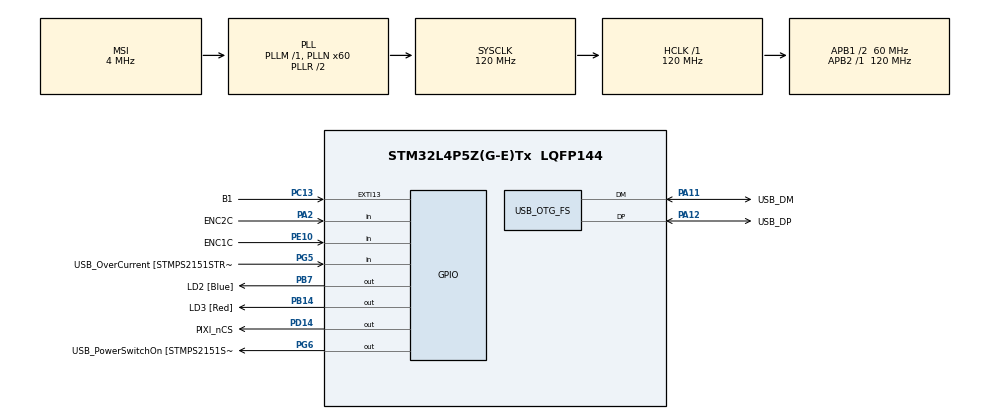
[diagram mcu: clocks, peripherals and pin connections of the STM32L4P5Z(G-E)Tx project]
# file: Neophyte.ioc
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FREERTOS.INCLUDE_vTaskDelayUntil=1
FREERTOS.Tasks01=defaultTask,0,1024,StartDefaultTask,Default,NULL,Dynamic,NULL,NULL
FREERTOS.configCHECK_FOR_STACK_OVERFLOW=2
FREERTOS.configTOTAL_HEAP_SIZE=15360
FREERTOS.configUSE_MALLOC_FAILED_HOOK=1
FREERTOS.configUSE_MUTEXES=0
FREERTOS.configUSE_PREEMPTION=0
IWDG.Prescaler=IWDG_PRESCALER_128
IWDG.Reload=8*32000/128
IWDG.Window=8*32000/128
Mcu.Family=STM32L4
Mcu.Name=STM32L4P5Z(G-E)Tx
Mcu.Package=LQFP144
NVIC.OTG_FS_IRQn=true\:10\:0\:true\:false\:true\:false\:false\:true
NVIC.PriorityGroup=NVIC_PRIORITYGROUP_4
PA10.GPIO_Label=USB_ID
PA10.Signal=USB_OTG_FS_ID
PA11.GPIO_Label=USB_DM
PA11.Mode=Device_Only
PA11.Signal=USB_OTG_FS_DM
PA12.GPIO_Label=USB_DP
PA12.Mode=Device_Only
PA12.Signal=USB_OTG_FS_DP
PA13\ (JTMS/SWDIO).GPIO_Label=TMS
PA13\ (JTMS/SWDIO).Mode=Trace_Asynchronous_SW
PA13\ (JTMS/SWDIO).Signal=SYS_JTMS-SWDIO
PA14\ (JTCK/SWCLK).GPIO_Label=TCK
PA14\ (JTCK/SWCLK).Mode=Trace_Asynchronous_SW
PA14\ (JTCK/SWCLK).Signal=SYS_JTCK-SWCLK
PA2.GPIO_Label=ENC2C
PA2.GPIO_PuPd=GPIO_PULLUP
PA2.Signal=GPIO_Input
PA5.GPIO_Label=PIXI_SCK
PA5.Signal=SPI1_SCK
PA6.GPIO_Label=PIXI_MISO
PA6.Signal=SPI1_MISO
PA8.GPIO_Label=USB_SOF [TP1]
PA8.Signal=USB_OTG_FS_SOF
PA9.GPIO_Label=USB_VBUS
PA9.Signal=USB_OTG_FS_VBUS
PB14.GPIO_Label=LD3 [Red]
PB14.Signal=GPIO_Output
PB3\ (JTDO/TRACESWO).GPIO_Label=SWO
PB3\ (JTDO/TRACESWO).Mode=Trace_Asynchronous_SW
PB3\ (JTDO/TRACESWO).Signal=SYS_JTDO-SWO
PB7.GPIO_Label=LD2 [Blue]
PB7.Signal=GPIO_Output
PC13.GPIO_Label=B1
PC13.Signal=GPXTI13
PC14-OSC32_IN\ (PC14).Mode=LSE-External-Oscillator
PC14-OSC32_IN\ (PC14).Signal=RCC_OSC32_IN
PC15-OSC32_OUT\ (PC15).Mode=LSE-External-Oscillator
PC15-OSC32_OUT\ (PC15).Signal=RCC_OSC32_OUT
PD14.GPIO_Label=PIXI_nCS
PD14.GPIO_Speed=GPIO_SPEED_FREQ_VERY_HIGH
PD14.Signal=GPIO_Output
PE10.GPIO_Label=ENC1C
PE10.GPIO_PuPd=GPIO_PULLUP
PE10.Signal=GPIO_Input
PG5.GPIO_Label=USB_OverCurrent [STMPS2151STR_FAULT]
PG5.Signal=GPIO_Input
PG6.GPIO_Label=USB_PowerSwitchOn [STMPS2151STR_En]
PG6.Signal=GPIO_Output
PG7.GPIO_Label=STLINK_TX
PG7.Signal=LPUART1_TX
PG8.GPIO_Label=STLINK_RX
PG8.Signal=LPUART1_RX
PH0-OSC_IN\ (PH0).Mode=HSE-External-Clock-Source
PH0-OSC_IN\ (PH0).Signal=RCC_OSC_IN
PH1-OSC_OUT\ (PH1).Signal=RCC_OSC_OUT
ProjectManager.HeapSize=0x200
ProjectManager.StackSize=0x400
ProjectManager.TargetToolchain=Makefile
RCC.48MHZClocksFreq_Value=24000000
RCC.ADCFreq_Value=48000000
RCC.AHBFreq_Value=120000000
RCC.APB1CLKDivider=RCC_HCLK_DIV2
RCC.APB1Freq_Value=60000000
RCC.APB1TimFreq_Value=120000000
RCC.APB2Freq_Value=120000000
RCC.APB2TimFreq_Value=120000000
RCC.CortexFreq_Value=120000000
RCC.HCLKFreq_Value=120000000
RCC.HSE_VALUE=8000000
RCC.HSI48_VALUE=48000000
RCC.HSI_VALUE=16000000
RCC.MSI_VALUE=4000000
RCC.PLLMUL=RCC_PLL_MUL9
RCC.PLLN=60
RCC.PLLSAI1N=24
RCC.PRESCALERUSB=RCC_USBCLKSOURCE_PLL_DIV1_5
RCC.SYSCLKFreq_VALUE=120000000
RCC.SYSCLKSource=RCC_SYSCLKSOURCE_PLLCLK
RCC.SYSCLKSourceVirtual=RCC_SYSCLKSOURCE_PLLCLK
RCC.USBFreq_Value=48000000
RCC.VCOOutputFreq_Value=240000000
USB_DEVICE.CLASS_NAME_FS=AUDIO
USB_DEVICE.MANUFACTURER_STRING=Rebel Technology
USB_DEVICE.PID_AUDIO_FS=0xDADA
USB_DEVICE.PRODUCT_STRING_AUDIO_FS=OWL-NEOPHYTE
USB_DEVICE.VID=0x1209
USB_DEVICE.VirtualMode=Audio
USB_DEVICE.VirtualModeFS=Audio_FS
USB_OTG_FS.VirtualMode=Device_Only
USB_OTG_FS.battery_charging_enable=DISABLE
VP_FREERTOS_VS_CMSIS_V1.Mode=CMSIS_V1
VP_IWDG_VS_IWDG.Mode=IWDG_Activate
VP_USB_DEVICE_VS_USB_DEVICE_AUDIO_FS.Mode=AUDIO_FS
board=NUCLEO-L4P5ZG

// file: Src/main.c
/* USER CODE BEGIN Header */
/**
  ******************************************************************************
  * @file           : main.c
  * @brief          : Main program body
  ******************************************************************************
  * @attention
  *
  * <h2><center>&copy; Copyright (c) 2020 STMicroelectronics.
  * All rights reserved.</center></h2>
  *
  * This software component is licensed by ST under BSD 3-Clause license,
  * the "License"; You may not use this file except in compliance with the
  * License. You may obtain a copy of the License at:
  *                        opensource.org/licenses/BSD-3-Clause
  *
  ******************************************************************************
  */
/* USER CODE END Header */
#include "main.h"
#include "cmsis_os.h"
#include "usb_device.h"

/* USER CODE BEGIN Includes */
#include "device.h"
#include "errorhandlers.h"
/* USER CODE END Includes */

IWDG_HandleTypeDef hiwdg;

osThreadId defaultTaskHandle;

void SystemClock_Config(void);
static void MX_GPIO_Init(void);
static void MX_IWDG_Init(void);
void StartDefaultTask(void const * argument);

/* USER CODE BEGIN PFP */
void setup(void);
void loop(void);
void initialise_monitor_handles(void);
/* USER CODE END PFP */

int main(void)
{
  /* USER CODE BEGIN 1 */
#ifdef DEBUG
#warning "DEBUG uses printf and semihosting!"
  if(CoreDebug->DHCSR & 0x01)
    initialise_monitor_handles(); // remove when not semi-hosting
  printf("showtime\n");
#endif
  /* USER CODE END 1 */

  /* MCU Configuration--------------------------------------------------------*/

  /* Reset of all peripherals, Initializes the Flash interface and the Systick. */
  HAL_Init();

  /* Configure the system clock */
  SystemClock_Config();

  /* Initialize all configured peripherals */
  MX_GPIO_Init();
  MX_IWDG_Init();
  /* USER CODE BEGIN 2 */
    __enable_irq(); // Normally we enable them from SDRAM init function
  /* USER CODE END 2 */

  /* Create the thread(s) */
  /* definition and creation of defaultTask */
  osThreadDef(defaultTask, StartDefaultTask, osPriorityNormal, 0, 1024);
  defaultTaskHandle = osThreadCreate(osThread(defaultTask), NULL);

  /* Start scheduler */
  osKernelStart();

  /* We should never get here as control is now taken by the scheduler */
  /* Infinite loop */
  while (1)
  {

  }
}

void SystemClock_Config(void)
{
  RCC_OscInitTypeDef RCC_OscInitStruct = {0};
  RCC_ClkInitTypeDef RCC_ClkInitStruct = {0};
  RCC_PeriphCLKInitTypeDef PeriphClkInit = {0};

  /** Configure the main internal regulator output voltage
  */
  if (HAL_PWREx_ControlVoltageScaling(PWR_REGULATOR_VOLTAGE_SCALE1_BOOST) != HAL_OK)
  {
    Error_Handler();
  }
  /** Configure LSE Drive Capability
  */
  HAL_PWR_EnableBkUpAccess();
  __HAL_RCC_LSEDRIVE_CONFIG(RCC_LSEDRIVE_LOW);
  /** Initializes the RCC Oscillators according to the specified parameters
  * in the RCC_OscInitTypeDef structure.
  */
  RCC_OscInitStruct.OscillatorType = RCC_OSCILLATORTYPE_LSI|RCC_OSCILLATORTYPE_LSE
                              |RCC_OSCILLATORTYPE_MSI;
  RCC_OscInitStruct.LSEState = RCC_LSE_ON;
  RCC_OscInitStruct.LSIState = RCC_LSI_ON;
  RCC_OscInitStruct.MSIState = RCC_MSI_ON;
  RCC_OscInitStruct.MSICalibrationValue = 0;
  RCC_OscInitStruct.MSIClockRange = RCC_MSIRANGE_6;
  RCC_OscInitStruct.PLL.PLLState = RCC_PLL_ON;
  RCC_OscInitStruct.PLL.PLLSource = RCC_PLLSOURCE_MSI;
  RCC_OscInitStruct.PLL.PLLM = 1;
  RCC_OscInitStruct.PLL.PLLN = 60;
  RCC_OscInitStruct.PLL.PLLP = RCC_PLLP_DIV7;
  RCC_OscInitStruct.PLL.PLLQ = RCC_PLLQ_DIV2;
  RCC_OscInitStruct.PLL.PLLR = RCC_PLLR_DIV2;
  if (HAL_RCC_OscConfig(&RCC_OscInitStruct) != HAL_OK)
  {
    Error_Handler();
  }
  /** Initializes the CPU, AHB and APB buses clocks
  */
  RCC_ClkInitStruct.ClockType = RCC_CLOCKTYPE_HCLK|RCC_CLOCKTYPE_SYSCLK
                              |RCC_CLOCKTYPE_PCLK1|RCC_CLOCKTYPE_PCLK2;
  RCC_ClkInitStruct.SYSCLKSource = RCC_SYSCLKSOURCE_PLLCLK;
  RCC_ClkInitStruct.AHBCLKDivider = RCC_SYSCLK_DIV1;
  RCC_ClkInitStruct.APB1CLKDivider = RCC_HCLK_DIV2;
  RCC_ClkInitStruct.APB2CLKDivider = RCC_HCLK_DIV1;

  if (HAL_RCC_ClockConfig(&RCC_ClkInitStruct, FLASH_LATENCY_5) != HAL_OK)
  {
    Error_Handler();
  }
  PeriphClkInit.PeriphClockSelection = RCC_PERIPHCLK_USB;
  PeriphClkInit.UsbClockSelection = RCC_USBCLKSOURCE_PLLSAI1;
  PeriphClkInit.PLLSAI1.PLLSAI1Source = RCC_PLLSOURCE_MSI;
  PeriphClkInit.PLLSAI1.PLLSAI1M = 1;
  PeriphClkInit.PLLSAI1.PLLSAI1N = 24;
  PeriphClkInit.PLLSAI1.PLLSAI1P = RCC_PLLP_DIV7;
  PeriphClkInit.PLLSAI1.PLLSAI1Q = RCC_PLLQ_DIV2;
  PeriphClkInit.PLLSAI1.PLLSAI1R = RCC_PLLR_DIV2;
  PeriphClkInit.PLLSAI1.PLLSAI1ClockOut = RCC_PLLSAI1_48M2CLK;
  if (HAL_RCCEx_PeriphCLKConfig(&PeriphClkInit) != HAL_OK)
  {
    Error_Handler();
  }
  /** Enable MSI Auto calibration
  */
  HAL_RCCEx_EnableMSIPLLMode();
}

static void MX_IWDG_Init(void)
{

  /* USER CODE BEGIN IWDG_Init 1 */
#ifdef USE_IWDG
  /* USER CODE END IWDG_Init 1 */
  hiwdg.Instance = IWDG;
  hiwdg.Init.Prescaler = IWDG_PRESCALER_128;
  hiwdg.Init.Window = 8*32000/128;
  hiwdg.Init.Reload = 8*32000/128;
  if (HAL_IWDG_Init(&hiwdg) != HAL_OK)
  {
    Error_Handler();
  }
  /* USER CODE BEGIN IWDG_Init 2 */
#endif
  /* USER CODE END IWDG_Init 2 */

}

static void MX_GPIO_Init(void)
{
  GPIO_InitTypeDef GPIO_InitStruct = {0};

  /* GPIO Ports Clock Enable */
  __HAL_RCC_GPIOC_CLK_ENABLE();
  __HAL_RCC_GPIOH_CLK_ENABLE();
  __HAL_RCC_GPIOA_CLK_ENABLE();
  __HAL_RCC_GPIOE_CLK_ENABLE();
  __HAL_RCC_GPIOB_CLK_ENABLE();
  __HAL_RCC_GPIOD_CLK_ENABLE();
  __HAL_RCC_GPIOG_CLK_ENABLE();
  HAL_PWREx_EnableVddIO2();

  /*Configure GPIO pin Output Level */
  HAL_GPIO_WritePin(GPIOB, LD3_Pin|LD2_Pin, GPIO_PIN_RESET);

  /*Configure GPIO pin Output Level */
  HAL_GPIO_WritePin(PIXI_nCS_GPIO_Port, PIXI_nCS_Pin, GPIO_PIN_RESET);

  /*Configure GPIO pin Output Level */
  HAL_GPIO_WritePin(USB_PowerSwitchOn_GPIO_Port, USB_PowerSwitchOn_Pin, GPIO_PIN_RESET);

  /*Configure GPIO pin : B1_Pin */
  GPIO_InitStruct.Pin = B1_Pin;
  GPIO_InitStruct.Mode = GPIO_MODE_IT_RISING;
  GPIO_InitStruct.Pull = GPIO_NOPULL;
  HAL_GPIO_Init(B1_GPIO_Port, &GPIO_InitStruct);

  /*Configure GPIO pin : ENC2C_Pin */
  GPIO_InitStruct.Pin = ENC2C_Pin;
  GPIO_InitStruct.Mode = GPIO_MODE_INPUT;
  GPIO_InitStruct.Pull = GPIO_PULLUP;
  HAL_GPIO_Init(ENC2C_GPIO_Port, &GPIO_InitStruct);

  /*Configure GPIO pins : PIXI_SCK_Pin PIXI_MISO_Pin */
  GPIO_InitStruct.Pin = PIXI_SCK_Pin|PIXI_MISO_Pin;
  GPIO_InitStruct.Mode = GPIO_MODE_AF_PP;
  GPIO_InitStruct.Pull = GPIO_NOPULL;
  GPIO_InitStruct.Speed = GPIO_SPEED_FREQ_VERY_HIGH;
  GPIO_InitStruct.Alternate = GPIO_AF5_SPI1;
  HAL_GPIO_Init(GPIOA, &GPIO_InitStruct);

  /*Configure GPIO pin : ENC1C_Pin */
  GPIO_InitStruct.Pin = ENC1C_Pin;
  GPIO_InitStruct.Mode = GPIO_MODE_INPUT;
  GPIO_InitStruct.Pull = GPIO_PULLUP;
  HAL_GPIO_Init(ENC1C_GPIO_Port, &GPIO_InitStruct);

  /*Configure GPIO pins : LD3_Pin LD2_Pin */
  GPIO_InitStruct.Pin = LD3_Pin|LD2_Pin;
  GPIO_InitStruct.Mode = GPIO_MODE_OUTPUT_PP;
  GPIO_InitStruct.Pull = GPIO_NOPULL;
  GPIO_InitStruct.Speed = GPIO_SPEED_FREQ_LOW;
  HAL_GPIO_Init(GPIOB, &GPIO_InitStruct);

  /*Configure GPIO pin : PIXI_nCS_Pin */
  GPIO_InitStruct.Pin = PIXI_nCS_Pin;
  GPIO_InitStruct.Mode = GPIO_MODE_OUTPUT_PP;
  GPIO_InitStruct.Pull = GPIO_NOPULL;
  GPIO_InitStruct.Speed = GPIO_SPEED_FREQ_VERY_HIGH;
  HAL_GPIO_Init(PIXI_nCS_GPIO_Port, &GPIO_InitStruct);

  /*Configure GPIO pin : USB_OverCurrent_Pin */
  GPIO_InitStruct.Pin = USB_OverCurrent_Pin;
  GPIO_InitStruct.Mode = GPIO_MODE_INPUT;
  GPIO_InitStruct.Pull = GPIO_NOPULL;
  HAL_GPIO_Init(USB_OverCurrent_GPIO_Port, &GPIO_InitStruct);

  /*Configure GPIO pin : USB_PowerSwitchOn_Pin */
  GPIO_InitStruct.Pin = USB_PowerSwitchOn_Pin;
  GPIO_InitStruct.Mode = GPIO_MODE_OUTPUT_PP;
  GPIO_InitStruct.Pull = GPIO_NOPULL;
  GPIO_InitStruct.Speed = GPIO_SPEED_FREQ_LOW;
  HAL_GPIO_Init(USB_PowerSwitchOn_GPIO_Port, &GPIO_InitStruct);

  /*Configure GPIO pins : STLINK_TX_Pin STLINK_RX_Pin */
  GPIO_InitStruct.Pin = STLINK_TX_Pin|STLINK_RX_Pin;
  GPIO_InitStruct.Mode = GPIO_MODE_AF_PP;
  GPIO_InitStruct.Pull = GPIO_NOPULL;
  GPIO_InitStruct.Speed = GPIO_SPEED_FREQ_VERY_HIGH;
  GPIO_InitStruct.Alternate = GPIO_AF8_LPUART1;
  HAL_GPIO_Init(GPIOG, &GPIO_InitStruct);

}

void StartDefaultTask(void const * argument)
{
  /* init code for USB_DEVICE */
  MX_USB_DEVICE_Init();
  /* USER CODE BEGIN 5 */
  setup();

  /* Infinite loop */
  for(;;)
  {
    loop();
  }

  /* USER CODE END 5 */
}

void Error_Handler(void)
{
  /* USER CODE BEGIN Error_Handler_Debug */
  /* User can add his own implementation to report the HAL error return state */
#ifdef DEBUG
  __asm__("BKPT");
#else
  NVIC_SystemReset();
#endif
  /* USER CODE END Error_Handler_Debug */
}

#ifdef  USE_FULL_ASSERT
/**
  * @brief  Reports the name of the source file and the source line number
  *         where the assert_param error has occurred.
  * @param  file: pointer to the source file name
  * @param  line: assert_param error line source number
  * @retval None
  */
void assert_failed(uint8_t *file, uint32_t line)
{
  /* USER CODE BEGIN 6 */
#ifdef DEBUG
  __asm__("BKPT");
#else
  NVIC_SystemReset();
#endif
  /* USER CODE END 6 */
}
#endif /* USE_FULL_ASSERT */

/************************ (C) COPYRIGHT STMicroelectronics *****END OF FILE****/
